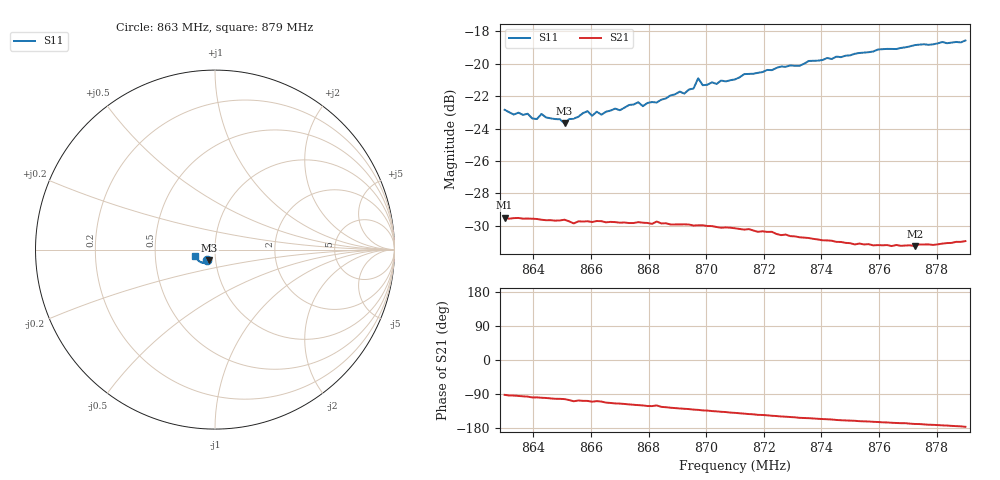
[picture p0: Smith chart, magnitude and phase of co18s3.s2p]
# HZ S RI R 50
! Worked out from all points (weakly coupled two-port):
!   101 points, 863 MHz to 879 MHz, reference 50 ohm
!   highest |S21| = -29.50 dB at 863 MHz (marker M1); lowest = -31.3 dB at 877.24 MHz (marker M2)
!   lowest |S11| = -23.7 dB at 865.08 MHz (marker M3), VSWR 1.14, Z = 46.6 - j5.36 ohm
!   |S11| at or under -10 dB: start of sweep to end of sweep
!   S12 and S22 are empty: the file has one direction only
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8.63e8  -0.0451 -0.0562  -0.00116 -0.0335  0 0  0 0
8.6332e8  -0.0411 -0.0563  -0.00224 -0.0333  0 0  0 0
8.638e8  -0.0414 -0.0566  -0.00383 -0.033  0 0  0 0
8.6412e8  -0.0381 -0.0557  -0.00499 -0.0328  0 0  0 0
8.6428e8  -0.0404 -0.0571  -0.00554 -0.0325  0 0  0 0
8.6508e8  -0.0317 -0.0572  -0.00754 -0.0321  0 0  0 0
8.654e8  -0.0353 -0.0577  -0.0104 -0.0304  0 0  0 0
8.6572e8  -0.0356 -0.0607  -0.00995 -0.031  0 0  0 0
8.662e8  -0.0341 -0.0624  -0.0104 -0.031  0 0  0 0
8.6636e8  -0.0326 -0.0615  -0.011 -0.0308  0 0  0 0
8.6764e8  -0.0372 -0.0664  -0.0158 -0.0283  0 0  0 0
8.678e8  -0.0356 -0.0648  -0.0161 -0.028  0 0  0 0
8.6844e8  -0.038 -0.0675  -0.0178 -0.0268  0 0  0 0
8.6956e8  -0.0439 -0.0714  -0.0207 -0.0239  0 0  0 0
8.6972e8  -0.0548 -0.0716  -0.0211 -0.0237  0 0  0 0
8.6988e8  -0.0441 -0.0737  -0.0216 -0.0232  0 0  0 0
8.71e8  -0.0509 -0.0736  -0.0236 -0.0201  0 0  0 0
8.7132e8  -0.0538 -0.0757  -0.0241 -0.0191  0 0  0 0
8.7372e8  -0.0706 -0.0737  -0.0259 -0.0125  0 0  0 0
8.7644e8  -0.0936 -0.0598  -0.0265 -0.00678  0 0  0 0
8.7724e8  -0.1009 -0.0533  -0.0268 -0.00532  0 0  0 0
8.79e8  -0.1121 -0.0367  -0.0283 -0.00184  0 0  0 0
